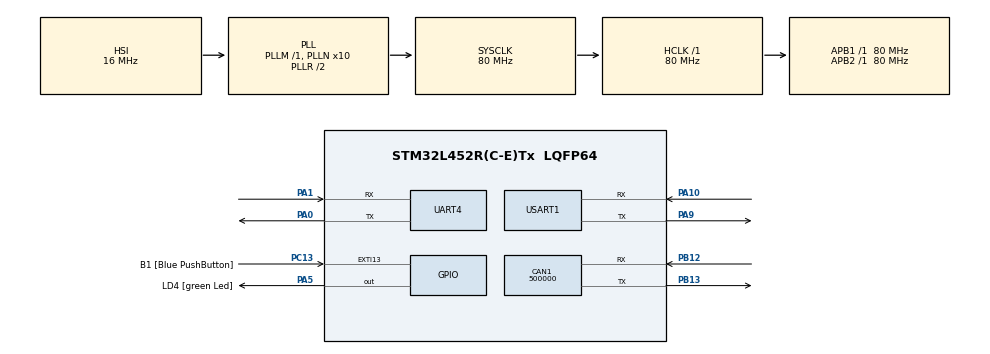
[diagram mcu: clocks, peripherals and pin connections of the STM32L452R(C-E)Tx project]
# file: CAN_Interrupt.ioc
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CAN1.BS1=CAN_BS1_4TQ
CAN1.BS2=CAN_BS2_5TQ
CAN1.CalculateBaudRate=500000
CAN1.CalculateTimeBit=2000
CAN1.CalculateTimeQuantum=200.0
Mcu.Family=STM32L4
Mcu.Name=STM32L452R(C-E)Tx
Mcu.Package=LQFP64
NVIC.CAN1_RX0_IRQn=true\:0\:0\:false\:false\:true\:true\:true\:true
NVIC.CAN1_RX1_IRQn=true\:0\:0\:false\:false\:true\:true\:true\:true
NVIC.PriorityGroup=NVIC_PRIORITYGROUP_4
PA0.Mode=Asynchronous
PA0.Signal=UART4_TX
PA1.Mode=Asynchronous
PA1.Signal=UART4_RX
PA10.Mode=Asynchronous
PA10.Signal=USART1_RX
PA13\ (JTMS/SWDIO).GPIO_Label=TMS
PA13\ (JTMS/SWDIO).Mode=Serial_Wire
PA13\ (JTMS/SWDIO).Signal=SYS_JTMS-SWDIO
PA14\ (JTCK/SWCLK).GPIO_Label=TCK
PA14\ (JTCK/SWCLK).Mode=Serial_Wire
PA14\ (JTCK/SWCLK).Signal=SYS_JTCK-SWCLK
PA2.GPIO_Label=USART_TX
PA2.GPIO_Mode=GPIO_MODE_AF_PP
PA2.GPIO_PuPd=GPIO_NOPULL
PA2.GPIO_Speed=GPIO_SPEED_FREQ_VERY_HIGH
PA2.Signal=USART2_TX
PA3.GPIO_Label=USART_RX
PA3.GPIO_Mode=GPIO_MODE_AF_PP
PA3.GPIO_PuPd=GPIO_NOPULL
PA3.GPIO_Speed=GPIO_SPEED_FREQ_VERY_HIGH
PA3.Signal=USART2_RX
PA5.GPIO_Label=LD4 [green Led]
PA5.GPIO_ModeDefaultOutputPP=GPIO_MODE_OUTPUT_PP
PA5.GPIO_PuPd=GPIO_NOPULL
PA5.GPIO_Speed=GPIO_SPEED_FREQ_LOW
PA5.Signal=GPIO_Output
PA9.Mode=Asynchronous
PA9.Signal=USART1_TX
PB12.Mode=CAN_Activate
PB12.Signal=CAN1_RX
PB13.Mode=CAN_Activate
PB13.Signal=CAN1_TX
PB3\ (JTDO/TRACESWO).GPIO_Label=SWO
PB3\ (JTDO/TRACESWO).Signal=SYS_JTDO-SWO
PC13.GPIO_Label=B1 [Blue PushButton]
PC13.GPIO_ModeDefaultEXTI=GPIO_MODE_IT_FALLING
PC13.GPIO_PuPd=GPIO_NOPULL
PC13.Signal=GPXTI13
PC14-OSC32_IN\ (PC14).Mode=LSE-External-Oscillator
PC14-OSC32_IN\ (PC14).Signal=RCC_OSC32_IN
PC15-OSC32_OUT\ (PC15).Mode=LSE-External-Oscillator
PC15-OSC32_OUT\ (PC15).Signal=RCC_OSC32_OUT
PH0-OSC_IN\ (PH0).Signal=RCC_OSC_IN
PH1-OSC_OUT\ (PH1).Signal=RCC_OSC_OUT
ProjectManager.HeapSize=0x200
ProjectManager.StackSize=0x400
ProjectManager.TargetToolchain=STM32CubeIDE
RCC.ADCFreq_Value=64000000
RCC.AHBFreq_Value=80000000
RCC.APB1Freq_Value=80000000
RCC.APB1TimFreq_Value=80000000
RCC.APB2Freq_Value=80000000
RCC.APB2TimFreq_Value=80000000
RCC.CortexFreq_Value=80000000
RCC.HCLKFreq_Value=80000000
RCC.HSE_VALUE=8000000
RCC.HSI48_VALUE=48000000
RCC.HSI_VALUE=16000000
RCC.MSI_VALUE=4000000
RCC.PLLN=10
RCC.PLLSourceVirtual=RCC_PLLSOURCE_HSI
RCC.PREFETCH_ENABLE=1
RCC.SYSCLKFreq_VALUE=80000000
RCC.SYSCLKSource=RCC_SYSCLKSOURCE_PLLCLK
RCC.USBFreq_Value=64000000
RCC.VCOOutputFreq_Value=160000000
USART1.VirtualMode-Asynchronous=VM_ASYNC
board=NUCLEO-L452RE

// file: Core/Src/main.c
/* USER CODE BEGIN Header */
/**
  ******************************************************************************
  * @file           : main.c
  * @brief          : Main program body
  ******************************************************************************
  * @attention
  *
  * Copyright (c) 2023 STMicroelectronics.
  * All rights reserved.
  *
  * This software is licensed under terms that can be found in the LICENSE file
  * in the root directory of this software component.
  * If no LICENSE file comes with this software, it is provided AS-IS.
  *
  ******************************************************************************
  */
/* USER CODE END Header */
#include "main.h"
#include "can.h"
#include "usart.h"
#include "gpio.h"
#include "can_it.h"

/* USER CODE BEGIN PV */
extern uint8_t RXData[8];

typedef struct GYRO_DATA
{
	int8_t
	acc_x1,acc_x2,
	acc_y1,acc_y2,
	acc_z1,acc_z2,
	gyr_x1,gyr_x2,
	gyr_y1,gyr_y2,
	gyr_z1,gyr_z2,
	ang_x1,ang_x2,
	ang_y1,ang_y2,
	ang_z1,ang_z2;

	int16_t
	acc_X,acc_Y,acc_Z,
	gyr_X,gyr_Y,gyr_Z,
	ang_X,ang_Y,ang_Z;
} GYRO_DATA;

GYRO_DATA CAN_VALUE;
/* USER CODE END PV */

void SystemClock_Config(void);

int main(void)
{

  /* MCU Configuration--------------------------------------------------------*/

  /* Reset of all peripherals, Initializes the Flash interface and the Systick. */
  HAL_Init();

  /* Configure the system clock */
  SystemClock_Config();

  /* Initialize all configured peripherals */
  MX_GPIO_Init();
  MX_CAN1_Init();
  MX_USART1_UART_Init();
  MX_UART4_Init();
  /* USER CODE BEGIN 2 */
  CAN_RX_Header_defunc();
  CAN_TX_Header_defunc();
  CAN_Error_Handler();
  /* USER CODE END 2 */

  /* Infinite loop */
  while (1)
  {

    /* USER CODE BEGIN 3 */
	  if(CAN_RXH.StdId==1)
	  	  {
	  		  if(RXData[1]==0x33) //acc
	  		  	  {
	  		  		 CAN_VALUE.acc_x1=RXData[2];
	  		  		 CAN_VALUE.acc_x2=RXData[3];
	  		  		 CAN_VALUE.acc_y1=RXData[4];
	  		  		 CAN_VALUE.acc_y2=RXData[5];
	  		  		 CAN_VALUE.acc_z1=RXData[6];
	  		  		 CAN_VALUE.acc_z2=RXData[7];

	  				 CAN_VALUE.acc_X = (CAN_VALUE.acc_x2 << 8) + (uint8_t)CAN_VALUE.acc_x1;
	  			     CAN_VALUE.acc_Y = (CAN_VALUE.acc_y2 << 8) + (uint8_t)CAN_VALUE.acc_y1;
	  			  	 CAN_VALUE.acc_Z = (CAN_VALUE.acc_z2 << 8) + (uint8_t)CAN_VALUE.acc_z1;

	  		  		 /*CAN_VALUE.acc_X = (CAN_VALUE.acc_x2 << 8) | CAN_VALUE.acc_x1;
	  		  		 CAN_VALUE.acc_Y = (CAN_VALUE.acc_y2 << 8) | CAN_VALUE.acc_y1;
	  		  		 CAN_VALUE.acc_Z = (CAN_VALUE.acc_z2 << 8) | CAN_VALUE.acc_z1;*/
	  		  	  }
	  		  else if(RXData[1]==0x34) // gyro
	  		  	  {
	  			     CAN_VALUE.gyr_x1=RXData[2];
	  				 CAN_VALUE.gyr_x2=RXData[3];
	  				 CAN_VALUE.gyr_y1=RXData[4];
	  				 CAN_VALUE.gyr_y2=RXData[5];
	  				 CAN_VALUE.gyr_z1=RXData[6];
	  				 CAN_VALUE.gyr_z2=RXData[7];

	  				 CAN_VALUE.gyr_X = (CAN_VALUE.gyr_x2 << 8) + (uint8_t)CAN_VALUE.gyr_x1;
	  				 CAN_VALUE.gyr_Y = (CAN_VALUE.gyr_y2 << 8) + (uint8_t)CAN_VALUE.gyr_y1;
	  				 CAN_VALUE.gyr_Z = (CAN_VALUE.gyr_z2 << 8) + (uint8_t)CAN_VALUE.gyr_z1;

	  		  		 /*CAN_VALUE.gyr_X = (CAN_VALUE.gyr_x2 << 8) | CAN_VALUE.gyr_x1;
	  		  		 CAN_VALUE.gyr_Y = (CAN_VALUE.gyr_y2 << 8) | CAN_VALUE.gyr_y1;
	  		  		 CAN_VALUE.gyr_Z = (CAN_VALUE.gyr_z2 << 8) | CAN_VALUE.gyr_z1;*/
	  		  	  }
	  		  else if(RXData[1]==0x35) // ang
	  		  	  {
	  			     CAN_VALUE.ang_x1=RXData[2];
	  				 CAN_VALUE.ang_x2=RXData[3];
	  				 CAN_VALUE.ang_y1=RXData[4];
	  				 CAN_VALUE.ang_y2=RXData[5];
	  				 CAN_VALUE.ang_z1=RXData[6];
	  				 CAN_VALUE.ang_z2=RXData[7];

	  			  	CAN_VALUE.ang_X = (CAN_VALUE.ang_x2 << 8) + (uint8_t)CAN_VALUE.ang_x1;
	  		  		CAN_VALUE.ang_Y = (CAN_VALUE.ang_y2 << 8) + (uint8_t)CAN_VALUE.ang_y1;
	  		  		CAN_VALUE.ang_Z = (CAN_VALUE.ang_z2 << 8) + (uint8_t)CAN_VALUE.ang_z1;
	  		  		/*CAN_VALUE.ang_X = (CAN_VALUE.ang_x2 << 8) | CAN_VALUE.ang_x1;
	  			     CAN_VALUE.ang_Y = (CAN_VALUE.ang_y2 << 8) | CAN_VALUE.ang_y1;
	  		  		 tmp = (CAN_VALUE.ang_z2 << 8);
	  		  		 tmp2 = (uint8_t)CAN_VALUE.ang_z1;
	  		  		 CAN_VALUE.ang_Z = tmp + tmp2;*/
	  		  	  }
	  	  }
  }
  /* USER CODE END 3 */
}

void SystemClock_Config(void)
{
  RCC_OscInitTypeDef RCC_OscInitStruct = {0};
  RCC_ClkInitTypeDef RCC_ClkInitStruct = {0};

  /** Configure the main internal regulator output voltage
  */
  if (HAL_PWREx_ControlVoltageScaling(PWR_REGULATOR_VOLTAGE_SCALE1) != HAL_OK)
  {
    Error_Handler();
  }

  /** Initializes the RCC Oscillators according to the specified parameters
  * in the RCC_OscInitTypeDef structure.
  */
  RCC_OscInitStruct.OscillatorType = RCC_OSCILLATORTYPE_HSI;
  RCC_OscInitStruct.HSIState = RCC_HSI_ON;
  RCC_OscInitStruct.HSICalibrationValue = RCC_HSICALIBRATION_DEFAULT;
  RCC_OscInitStruct.PLL.PLLState = RCC_PLL_ON;
  RCC_OscInitStruct.PLL.PLLSource = RCC_PLLSOURCE_HSI;
  RCC_OscInitStruct.PLL.PLLM = 1;
  RCC_OscInitStruct.PLL.PLLN = 10;
  RCC_OscInitStruct.PLL.PLLP = RCC_PLLP_DIV7;
  RCC_OscInitStruct.PLL.PLLQ = RCC_PLLQ_DIV2;
  RCC_OscInitStruct.PLL.PLLR = RCC_PLLR_DIV2;
  if (HAL_RCC_OscConfig(&RCC_OscInitStruct) != HAL_OK)
  {
    Error_Handler();
  }

  /** Initializes the CPU, AHB and APB buses clocks
  */
  RCC_ClkInitStruct.ClockType = RCC_CLOCKTYPE_HCLK|RCC_CLOCKTYPE_SYSCLK
                              |RCC_CLOCKTYPE_PCLK1|RCC_CLOCKTYPE_PCLK2;
  RCC_ClkInitStruct.SYSCLKSource = RCC_SYSCLKSOURCE_PLLCLK;
  RCC_ClkInitStruct.AHBCLKDivider = RCC_SYSCLK_DIV1;
  RCC_ClkInitStruct.APB1CLKDivider = RCC_HCLK_DIV1;
  RCC_ClkInitStruct.APB2CLKDivider = RCC_HCLK_DIV1;

  if (HAL_RCC_ClockConfig(&RCC_ClkInitStruct, FLASH_LATENCY_4) != HAL_OK)
  {
    Error_Handler();
  }
}

void Error_Handler(void)
{
  __disable_irq();
  while (1)
  {
  }
}
